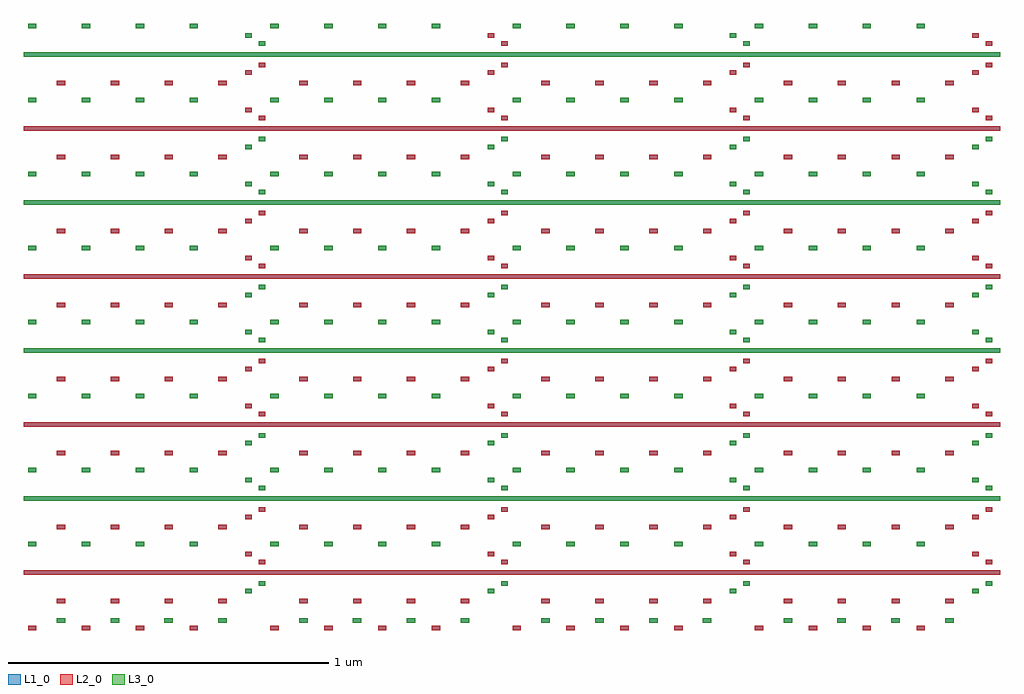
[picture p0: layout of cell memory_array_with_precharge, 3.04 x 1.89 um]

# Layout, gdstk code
import gdstk
lib = gdstk.Library(unit=1e-6, precision=5e-10)
def R(c, l, rs):  # rectangles x0, y0, x1, y1
    for r in rs: c.add(gdstk.rectangle(r[:2], r[2:], *l))
def A(c, l, x, y, w, h, nx, ny, dx, dy):  # array of equal rectangles
    R(c, l, [(x+i*dx, y+j*dy, x+i*dx+w, y+j*dy+h) for i in range(nx) for j in range(ny)])
L1_0 = (1, 0)
L2_0 = (2, 0)
L3_0 = (3, 0)

sram_6t = lib.new_cell('sram_6t')
R(sram_6t, L1_0, [(0.1025,0.0355,0.1285,0.0495), (0,0.1245,0.141,0.1385), (0.0125,0.213,0.0385,0.227)])
R(sram_6t, L2_0, [(0.1025,0.0355,0.1285,0.0495)])
R(sram_6t, L3_0, [(0.0125,0.213,0.0385,0.227)])

proto_hold_precharge_log = lib.new_cell('PROTO_HOLD_precharge_logic_3Q')
R(proto_hold_precharge_log, L1_0, [(-0.1765,-0.08,-0.1505,-0.066), (-0.087,-0.0565,-0.0605,-0.0425)])
R(proto_hold_precharge_log, L2_0, [(-0.1765,-0.08,-0.1505,-0.066)])
R(proto_hold_precharge_log, L3_0, [(-0.087,-0.0565,-0.0605,-0.0425)])

memory_array_with_precha = lib.new_cell('memory_array_with_precharge')
A(memory_array_with_precha, L1_0, 0.697, 0.1825, 0.02, 0.014, 4, 2, 0.756, 0.115)
A(memory_array_with_precha, L1_0, 0.739, 0.2065, 0.02, 0.014, 4, 2, 0.756, 0.0665)
A(memory_array_with_precha, L1_0, 0.0065, 0.24, 3.045, 0.014, 1, 8, 0, 0.231)
A(memory_array_with_precha, L1_0, 0.697, 0.4135, 0.02, 0.014, 4, 2, 0.756, 0.115)
A(memory_array_with_precha, L1_0, 0.739, 0.4375, 0.02, 0.014, 4, 2, 0.756, 0.0665)
A(memory_array_with_precha, L1_0, 0.697, 0.6445, 0.02, 0.014, 4, 2, 0.756, 0.115)
A(memory_array_with_precha, L1_0, 0.739, 0.6685, 0.02, 0.014, 4, 2, 0.756, 0.0665)
A(memory_array_with_precha, L1_0, 0.697, 0.8755, 0.02, 0.014, 4, 2, 0.756, 0.115)
A(memory_array_with_precha, L1_0, 0.739, 0.8995, 0.02, 0.014, 4, 2, 0.756, 0.0665)
A(memory_array_with_precha, L1_0, 0.697, 1.1065, 0.02, 0.014, 4, 2, 0.756, 0.115)
A(memory_array_with_precha, L1_0, 0.739, 1.1305, 0.02, 0.014, 4, 2, 0.756, 0.0665)
A(memory_array_with_precha, L1_0, 0.697, 1.3375, 0.02, 0.014, 4, 2, 0.756, 0.115)
A(memory_array_with_precha, L1_0, 0.739, 1.3615, 0.02, 0.014, 4, 2, 0.756, 0.0665)
A(memory_array_with_precha, L1_0, 0.697, 1.5685, 0.02, 0.014, 4, 2, 0.756, 0.115)
A(memory_array_with_precha, L1_0, 0.739, 1.5925, 0.02, 0.014, 4, 2, 0.756, 0.0665)
A(memory_array_with_precha, L1_0, 0.697, 1.8, 0.02, 0.014, 4, 2, 0.756, 0.115)
A(memory_array_with_precha, L1_0, 0.739, 1.824, 0.02, 0.014, 4, 2, 0.756, 0.0665)
A(memory_array_with_precha, L2_0, 0.0065, 0.24, 3.045, 0.014, 1, 4, 0, 0.462)
A(memory_array_with_precha, L2_0, 0.739, 0.273, 0.02, 0.014, 4, 2, 0.756, 0.1645)
A(memory_array_with_precha, L2_0, 0.697, 0.2975, 0.02, 0.014, 4, 2, 0.756, 0.116)
A(memory_array_with_precha, L2_0, 0.739, 0.735, 0.02, 0.014, 4, 2, 0.756, 0.1645)
A(memory_array_with_precha, L2_0, 0.697, 0.7595, 0.02, 0.014, 4, 2, 0.756, 0.116)
A(memory_array_with_precha, L2_0, 0.739, 1.197, 0.02, 0.014, 4, 2, 0.756, 0.1645)
A(memory_array_with_precha, L2_0, 0.697, 1.2215, 0.02, 0.014, 4, 2, 0.756, 0.116)
A(memory_array_with_precha, L2_0, 0.739, 1.659, 0.02, 0.014, 4, 2, 0.756, 0.165)
A(memory_array_with_precha, L2_0, 0.697, 1.6835, 0.02, 0.014, 4, 2, 0.756, 0.1165)
R(memory_array_with_precha, L2_0, [(1.495,1.8905,1.515,1.9045), (3.007,1.8905,3.027,1.9045), (1.453,1.915,1.473,1.929), (2.965,1.915,2.985,1.929)])
A(memory_array_with_precha, L3_0, 0.697, 0.1825, 0.02, 0.014, 4, 2, 0.756, 0.346)
A(memory_array_with_precha, L3_0, 0.739, 0.2065, 0.02, 0.014, 4, 2, 0.756, 0.2975)
A(memory_array_with_precha, L3_0, 0.0065, 0.471, 3.045, 0.014, 1, 4, 0, 0.462)
A(memory_array_with_precha, L3_0, 0.697, 0.6445, 0.02, 0.014, 4, 2, 0.756, 0.346)
A(memory_array_with_precha, L3_0, 0.739, 0.6685, 0.02, 0.014, 4, 2, 0.756, 0.2975)
A(memory_array_with_precha, L3_0, 0.697, 1.1065, 0.02, 0.014, 4, 2, 0.756, 0.346)
A(memory_array_with_precha, L3_0, 0.739, 1.1305, 0.02, 0.014, 4, 2, 0.756, 0.2975)
A(memory_array_with_precha, L3_0, 0.697, 1.5685, 0.02, 0.014, 4, 1, 0.756, 0)
A(memory_array_with_precha, L3_0, 0.739, 1.5925, 0.02, 0.014, 4, 1, 0.756, 0)
R(memory_array_with_precha, L3_0, [(0.739,1.8905,0.759,1.9045), (2.251,1.8905,2.271,1.9045), (0.697,1.915,0.717,1.929), (2.209,1.915,2.229,1.929)])
memory_array_with_precha.add(gdstk.Reference(sram_6t, (0.1745,1.7325)))
memory_array_with_precha.add(gdstk.Reference(sram_6t, (0.3425,1.7325)))
memory_array_with_precha.add(gdstk.Reference(sram_6t, (0.5105,1.7325)))
memory_array_with_precha.add(gdstk.Reference(sram_6t, (0.0065,1.7325)))
memory_array_with_precha.add(gdstk.Reference(sram_6t, (0.5105,1.5015)))
memory_array_with_precha.add(gdstk.Reference(sram_6t, (0.3425,1.5015)))
memory_array_with_precha.add(gdstk.Reference(sram_6t, (0.1745,1.5015)))
memory_array_with_precha.add(gdstk.Reference(sram_6t, (0.0065,1.5015)))
memory_array_with_precha.add(gdstk.Reference(sram_6t, (0.0065,1.2705)))
memory_array_with_precha.add(gdstk.Reference(sram_6t, (0.5105,1.2705)))
memory_array_with_precha.add(gdstk.Reference(sram_6t, (0.3425,1.2705)))
memory_array_with_precha.add(gdstk.Reference(sram_6t, (0.1745,1.2705)))
memory_array_with_precha.add(gdstk.Reference(sram_6t, (0.0065,1.0395)))
memory_array_with_precha.add(gdstk.Reference(sram_6t, (0.1745,1.0395)))
memory_array_with_precha.add(gdstk.Reference(sram_6t, (0.3425,1.0395)))
memory_array_with_precha.add(gdstk.Reference(sram_6t, (0.5105,1.0395)))
memory_array_with_precha.add(gdstk.Reference(sram_6t, (0.1745,0.8085)))
memory_array_with_precha.add(gdstk.Reference(sram_6t, (0.3425,0.8085)))
memory_array_with_precha.add(gdstk.Reference(sram_6t, (0.5105,0.8085)))
memory_array_with_precha.add(gdstk.Reference(sram_6t, (0.0065,0.8085)))
memory_array_with_precha.add(gdstk.Reference(sram_6t, (0.5105,0.5775)))
memory_array_with_precha.add(gdstk.Reference(sram_6t, (0.3425,0.5775)))
memory_array_with_precha.add(gdstk.Reference(sram_6t, (0.1745,0.5775)))
memory_array_with_precha.add(gdstk.Reference(sram_6t, (0.0065,0.3465)))
memory_array_with_precha.add(gdstk.Reference(sram_6t, (0.0065,0.1155)))
memory_array_with_precha.add(gdstk.Reference(sram_6t, (0.5105,0.3465)))
memory_array_with_precha.add(gdstk.Reference(sram_6t, (0.3425,0.3465)))
memory_array_with_precha.add(gdstk.Reference(sram_6t, (0.1745,0.3465)))
memory_array_with_precha.add(gdstk.Reference(sram_6t, (0.1745,0.1155)))
memory_array_with_precha.add(gdstk.Reference(sram_6t, (0.3425,0.1155)))
memory_array_with_precha.add(gdstk.Reference(sram_6t, (0.5105,0.1155)))
memory_array_with_precha.add(gdstk.Reference(sram_6t, (0.0065,0.5775)))
memory_array_with_precha.add(gdstk.Reference(sram_6t, (0.7625,0.1155)))
memory_array_with_precha.add(gdstk.Reference(sram_6t, (0.9305,0.1155)))
memory_array_with_precha.add(gdstk.Reference(sram_6t, (1.0985,0.1155)))
memory_array_with_precha.add(gdstk.Reference(sram_6t, (1.2665,0.1155)))
memory_array_with_precha.add(gdstk.Reference(sram_6t, (1.2665,0.3465)))
memory_array_with_precha.add(gdstk.Reference(sram_6t, (1.0985,0.3465)))
memory_array_with_precha.add(gdstk.Reference(sram_6t, (0.9305,0.3465)))
memory_array_with_precha.add(gdstk.Reference(sram_6t, (0.7625,0.3465)))
memory_array_with_precha.add(gdstk.Reference(sram_6t, (0.7625,0.5775)))
memory_array_with_precha.add(gdstk.Reference(sram_6t, (0.9305,0.5775)))
memory_array_with_precha.add(gdstk.Reference(sram_6t, (1.0985,0.5775)))
memory_array_with_precha.add(gdstk.Reference(sram_6t, (1.2665,0.5775)))
memory_array_with_precha.add(gdstk.Reference(sram_6t, (0.7625,0.8085)))
memory_array_with_precha.add(gdstk.Reference(sram_6t, (1.2665,0.8085)))
memory_array_with_precha.add(gdstk.Reference(sram_6t, (1.0985,0.8085)))
memory_array_with_precha.add(gdstk.Reference(sram_6t, (0.9305,0.8085)))
memory_array_with_precha.add(gdstk.Reference(sram_6t, (1.2665,1.0395)))
memory_array_with_precha.add(gdstk.Reference(sram_6t, (1.0985,1.0395)))
memory_array_with_precha.add(gdstk.Reference(sram_6t, (0.9305,1.0395)))
memory_array_with_precha.add(gdstk.Reference(sram_6t, (0.7625,1.0395)))
memory_array_with_precha.add(gdstk.Reference(sram_6t, (0.9305,1.2705)))
memory_array_with_precha.add(gdstk.Reference(sram_6t, (1.0985,1.2705)))
memory_array_with_precha.add(gdstk.Reference(sram_6t, (1.2665,1.2705)))
memory_array_with_precha.add(gdstk.Reference(sram_6t, (0.7625,1.2705)))
memory_array_with_precha.add(gdstk.Reference(sram_6t, (0.7625,1.5015)))
memory_array_with_precha.add(gdstk.Reference(sram_6t, (0.9305,1.5015)))
memory_array_with_precha.add(gdstk.Reference(sram_6t, (1.0985,1.5015)))
memory_array_with_precha.add(gdstk.Reference(sram_6t, (1.2665,1.5015)))
memory_array_with_precha.add(gdstk.Reference(sram_6t, (0.7625,1.7325)))
memory_array_with_precha.add(gdstk.Reference(sram_6t, (1.2665,1.7325)))
memory_array_with_precha.add(gdstk.Reference(sram_6t, (1.0985,1.7325)))
memory_array_with_precha.add(gdstk.Reference(sram_6t, (0.9305,1.7325)))
memory_array_with_precha.add(gdstk.Reference(sram_6t, (2.0225,1.0395)))
memory_array_with_precha.add(gdstk.Reference(sram_6t, (2.0225,1.2705)))
memory_array_with_precha.add(gdstk.Reference(sram_6t, (2.0225,1.5015)))
memory_array_with_precha.add(gdstk.Reference(sram_6t, (2.0225,1.7325)))
memory_array_with_precha.add(gdstk.Reference(sram_6t, (2.4425,1.7325)))
memory_array_with_precha.add(gdstk.Reference(sram_6t, (2.6105,1.7325)))
memory_array_with_precha.add(gdstk.Reference(sram_6t, (2.7785,1.7325)))
memory_array_with_precha.add(gdstk.Reference(sram_6t, (2.2745,1.7325)))
memory_array_with_precha.add(gdstk.Reference(sram_6t, (2.7785,1.5015)))
memory_array_with_precha.add(gdstk.Reference(sram_6t, (2.6105,1.5015)))
memory_array_with_precha.add(gdstk.Reference(sram_6t, (2.4425,1.5015)))
memory_array_with_precha.add(gdstk.Reference(sram_6t, (2.2745,1.5015)))
memory_array_with_precha.add(gdstk.Reference(sram_6t, (2.2745,1.2705)))
memory_array_with_precha.add(gdstk.Reference(sram_6t, (2.7785,1.2705)))
memory_array_with_precha.add(gdstk.Reference(sram_6t, (2.6105,1.2705)))
memory_array_with_precha.add(gdstk.Reference(sram_6t, (2.4425,1.2705)))
memory_array_with_precha.add(gdstk.Reference(sram_6t, (2.2745,1.0395)))
memory_array_with_precha.add(gdstk.Reference(sram_6t, (2.4425,1.0395)))
memory_array_with_precha.add(gdstk.Reference(sram_6t, (2.6105,1.0395)))
memory_array_with_precha.add(gdstk.Reference(sram_6t, (2.7785,1.0395)))
memory_array_with_precha.add(gdstk.Reference(sram_6t, (2.4425,0.8085)))
memory_array_with_precha.add(gdstk.Reference(sram_6t, (2.6105,0.8085)))
memory_array_with_precha.add(gdstk.Reference(sram_6t, (2.7785,0.8085)))
memory_array_with_precha.add(gdstk.Reference(sram_6t, (2.2745,0.8085)))
memory_array_with_precha.add(gdstk.Reference(sram_6t, (2.7785,0.5775)))
memory_array_with_precha.add(gdstk.Reference(sram_6t, (2.6105,0.5775)))
memory_array_with_precha.add(gdstk.Reference(sram_6t, (2.4425,0.5775)))
memory_array_with_precha.add(gdstk.Reference(sram_6t, (2.2745,0.5775)))
memory_array_with_precha.add(gdstk.Reference(sram_6t, (2.2745,0.3465)))
memory_array_with_precha.add(gdstk.Reference(sram_6t, (2.4425,0.3465)))
memory_array_with_precha.add(gdstk.Reference(sram_6t, (2.6105,0.3465)))
memory_array_with_precha.add(gdstk.Reference(sram_6t, (2.7785,0.3465)))
memory_array_with_precha.add(gdstk.Reference(sram_6t, (1.5185,0.1155)))
memory_array_with_precha.add(gdstk.Reference(sram_6t, (1.6865,0.1155)))
memory_array_with_precha.add(gdstk.Reference(sram_6t, (1.8545,0.1155)))
memory_array_with_precha.add(gdstk.Reference(sram_6t, (2.0225,0.1155)))
memory_array_with_precha.add(gdstk.Reference(sram_6t, (1.8545,0.3465)))
memory_array_with_precha.add(gdstk.Reference(sram_6t, (1.6865,0.3465)))
memory_array_with_precha.add(gdstk.Reference(sram_6t, (1.5185,0.3465)))
memory_array_with_precha.add(gdstk.Reference(sram_6t, (1.5185,0.5775)))
memory_array_with_precha.add(gdstk.Reference(sram_6t, (1.6865,0.5775)))
memory_array_with_precha.add(gdstk.Reference(sram_6t, (1.8545,0.5775)))
memory_array_with_precha.add(gdstk.Reference(sram_6t, (1.5185,0.8085)))
memory_array_with_precha.add(gdstk.Reference(sram_6t, (1.8545,0.8085)))
memory_array_with_precha.add(gdstk.Reference(sram_6t, (1.6865,0.8085)))
memory_array_with_precha.add(gdstk.Reference(sram_6t, (1.8545,1.0395)))
memory_array_with_precha.add(gdstk.Reference(sram_6t, (1.6865,1.0395)))
memory_array_with_precha.add(gdstk.Reference(sram_6t, (1.5185,1.0395)))
memory_array_with_precha.add(gdstk.Reference(sram_6t, (1.6865,1.2705)))
memory_array_with_precha.add(gdstk.Reference(sram_6t, (1.8545,1.2705)))
memory_array_with_precha.add(gdstk.Reference(sram_6t, (1.5185,1.2705)))
memory_array_with_precha.add(gdstk.Reference(sram_6t, (1.5185,1.5015)))
memory_array_with_precha.add(gdstk.Reference(sram_6t, (1.6865,1.5015)))
memory_array_with_precha.add(gdstk.Reference(sram_6t, (1.8545,1.5015)))
memory_array_with_precha.add(gdstk.Reference(sram_6t, (1.5185,1.7325)))
memory_array_with_precha.add(gdstk.Reference(sram_6t, (1.8545,1.7325)))
memory_array_with_precha.add(gdstk.Reference(sram_6t, (1.6865,1.7325)))
memory_array_with_precha.add(gdstk.Reference(sram_6t, (2.7785,0.1155)))
memory_array_with_precha.add(gdstk.Reference(sram_6t, (2.6105,0.1155)))
memory_array_with_precha.add(gdstk.Reference(sram_6t, (2.4425,0.1155)))
memory_array_with_precha.add(gdstk.Reference(sram_6t, (2.2745,0.1155)))
memory_array_with_precha.add(gdstk.Reference(sram_6t, (2.0225,0.3465)))
memory_array_with_precha.add(gdstk.Reference(sram_6t, (2.0225,0.5775)))
memory_array_with_precha.add(gdstk.Reference(sram_6t, (2.0225,0.8085)))
memory_array_with_precha.add(gdstk.Reference(proto_hold_precharge_log, (1.7075,0.147)))
memory_array_with_precha.add(gdstk.Reference(proto_hold_precharge_log, (1.8755,0.147)))
memory_array_with_precha.add(gdstk.Reference(proto_hold_precharge_log, (2.0435,0.147)))
memory_array_with_precha.add(gdstk.Reference(proto_hold_precharge_log, (2.2115,0.147)))
memory_array_with_precha.add(gdstk.Reference(proto_hold_precharge_log, (2.9675,0.147)))
memory_array_with_precha.add(gdstk.Reference(proto_hold_precharge_log, (2.7995,0.147)))
memory_array_with_precha.add(gdstk.Reference(proto_hold_precharge_log, (2.6315,0.147)))
memory_array_with_precha.add(gdstk.Reference(proto_hold_precharge_log, (2.4635,0.147)))
memory_array_with_precha.add(gdstk.Reference(proto_hold_precharge_log, (0.9515,0.147)))
memory_array_with_precha.add(gdstk.Reference(proto_hold_precharge_log, (1.1195,0.147)))
memory_array_with_precha.add(gdstk.Reference(proto_hold_precharge_log, (1.2875,0.147)))
memory_array_with_precha.add(gdstk.Reference(proto_hold_precharge_log, (1.4555,0.147)))
memory_array_with_precha.add(gdstk.Reference(proto_hold_precharge_log, (0.1955,0.147)))
memory_array_with_precha.add(gdstk.Reference(proto_hold_precharge_log, (0.3635,0.147)))
memory_array_with_precha.add(gdstk.Reference(proto_hold_precharge_log, (0.5315,0.147)))
memory_array_with_precha.add(gdstk.Reference(proto_hold_precharge_log, (0.6995,0.147)))

lib.write_gds('memory_array_with_precharge.gds')
